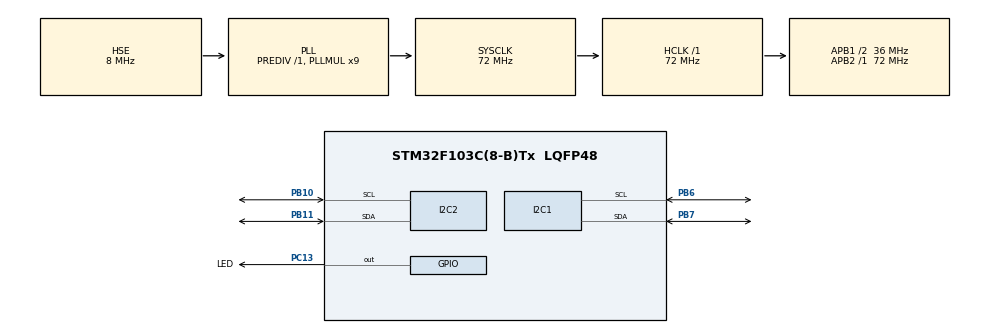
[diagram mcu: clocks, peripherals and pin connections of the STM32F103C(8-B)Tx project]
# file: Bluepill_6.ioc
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Mcu.Family=STM32F1
Mcu.Name=STM32F103C(8-B)Tx
Mcu.Package=LQFP48
NVIC.PriorityGroup=NVIC_PRIORITYGROUP_4
PA13.Mode=Serial_Wire
PA13.Signal=SYS_JTMS-SWDIO
PA14.Mode=Serial_Wire
PA14.Signal=SYS_JTCK-SWCLK
PB10.Mode=I2C
PB10.Signal=I2C2_SCL
PB11.Mode=I2C
PB11.Signal=I2C2_SDA
PB6.Mode=I2C
PB6.Signal=I2C1_SCL
PB7.Mode=I2C
PB7.Signal=I2C1_SDA
PC13-TAMPER-RTC.GPIO_Label=LED
PC13-TAMPER-RTC.GPIO_ModeDefaultOutputPP=GPIO_MODE_OUTPUT_OD
PC13-TAMPER-RTC.GPIO_PuPd=GPIO_PULLUP
PC13-TAMPER-RTC.Signal=GPIO_Output
PD0-OSC_IN.Mode=HSE-External-Oscillator
PD0-OSC_IN.Signal=RCC_OSC_IN
PD1-OSC_OUT.Mode=HSE-External-Oscillator
PD1-OSC_OUT.Signal=RCC_OSC_OUT
ProjectManager.HeapSize=0x200
ProjectManager.StackSize=0x400
ProjectManager.TargetToolchain=STM32CubeIDE
RCC.AHBFreq_Value=72000000
RCC.APB1CLKDivider=RCC_HCLK_DIV2
RCC.APB1Freq_Value=36000000
RCC.APB1TimFreq_Value=72000000
RCC.APB2Freq_Value=72000000
RCC.APB2TimFreq_Value=72000000
RCC.HCLKFreq_Value=72000000
RCC.PLLMUL=RCC_PLL_MUL9
RCC.PLLSourceVirtual=RCC_PLLSOURCE_HSE
RCC.SYSCLKFreq_VALUE=72000000
RCC.SYSCLKSource=RCC_SYSCLKSOURCE_PLLCLK
RCC.USBFreq_Value=72000000
board=custom

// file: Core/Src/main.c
/* USER CODE BEGIN Header */
/**
  ******************************************************************************
  * @file           : main.c
  * @brief          : Main program body
  ******************************************************************************
  * @attention
  *
  * Copyright (c) 2025 STMicroelectronics.
  * All rights reserved.
  *
  * This software is licensed under terms that can be found in the LICENSE file
  * in the root directory of this software component.
  * If no LICENSE file comes with this software, it is provided AS-IS.
  *
  ******************************************************************************
  */
/* USER CODE END Header */
#include "main.h"

/* USER CODE BEGIN PD */
#define I2C_SENSOR_ADDR 0x68
#define SENSOR_REGISTER_ADDR 0x75
/* USER CODE END PD */

I2C_HandleTypeDef hi2c1;
I2C_HandleTypeDef hi2c2;

/* USER CODE BEGIN PV */
uint8_t register_val=0;
uint8_t register_addr=SENSOR_REGISTER_ADDR;
/* USER CODE END PV */

void SystemClock_Config(void);
static void MX_GPIO_Init(void);
static void MX_I2C1_Init(void);
static void MX_I2C2_Init(void);

/* USER CODE BEGIN 0 */
void get_sensor_reading(){
	if(HAL_I2C_Master_Transmit(&hi2c1, I2C_SENSOR_ADDR<<1, &register_addr, 1, HAL_MAX_DELAY)!=HAL_OK){
		Error_Handler();
	}

	if(HAL_I2C_Master_Receive(&hi2c1, I2C_SENSOR_ADDR<<1, &register_val, 1, HAL_MAX_DELAY)!=HAL_OK){
		Error_Handler();
	}
}

/* USER CODE END 0 */

int main(void)
{

  /* MCU Configuration--------------------------------------------------------*/

  /* Reset of all peripherals, Initializes the Flash interface and the Systick. */
  HAL_Init();

  /* Configure the system clock */
  SystemClock_Config();

  /* Initialize all configured peripherals */
  MX_GPIO_Init();
  MX_I2C1_Init();
  MX_I2C2_Init();
  /* USER CODE BEGIN 2 */
  uint32_t led_on_time=0, now=0;

  if(HAL_I2C_IsDeviceReady(&hi2c1, (uint16_t)(I2C_SENSOR_ADDR<<1), 3, 5)==HAL_OK){
	  HAL_GPIO_WritePin(LED_GPIO_Port, LED_Pin, GPIO_PIN_RESET);
	  led_on_time=HAL_GetTick();

	  get_sensor_reading();
  }
  else{
	  //pass;
  }

  /* USER CODE END 2 */

  /* Infinite loop */
  /* USER CODE BEGIN WHILE */

  while (1)
  {
	  now=HAL_GetTick();

	  if(now-led_on_time>=2000){
		  HAL_GPIO_WritePin(LED_GPIO_Port, LED_Pin, GPIO_PIN_SET);
	  }
    /* USER CODE END WHILE */

  }
}

void SystemClock_Config(void)
{
  RCC_OscInitTypeDef RCC_OscInitStruct = {0};
  RCC_ClkInitTypeDef RCC_ClkInitStruct = {0};

  /** Initializes the RCC Oscillators according to the specified parameters
  * in the RCC_OscInitTypeDef structure.
  */
  RCC_OscInitStruct.OscillatorType = RCC_OSCILLATORTYPE_HSE;
  RCC_OscInitStruct.HSEState = RCC_HSE_ON;
  RCC_OscInitStruct.HSEPredivValue = RCC_HSE_PREDIV_DIV1;
  RCC_OscInitStruct.HSIState = RCC_HSI_ON;
  RCC_OscInitStruct.PLL.PLLState = RCC_PLL_ON;
  RCC_OscInitStruct.PLL.PLLSource = RCC_PLLSOURCE_HSE;
  RCC_OscInitStruct.PLL.PLLMUL = RCC_PLL_MUL9;
  if (HAL_RCC_OscConfig(&RCC_OscInitStruct) != HAL_OK)
  {
    Error_Handler();
  }

  /** Initializes the CPU, AHB and APB buses clocks
  */
  RCC_ClkInitStruct.ClockType = RCC_CLOCKTYPE_HCLK|RCC_CLOCKTYPE_SYSCLK
                              |RCC_CLOCKTYPE_PCLK1|RCC_CLOCKTYPE_PCLK2;
  RCC_ClkInitStruct.SYSCLKSource = RCC_SYSCLKSOURCE_PLLCLK;
  RCC_ClkInitStruct.AHBCLKDivider = RCC_SYSCLK_DIV1;
  RCC_ClkInitStruct.APB1CLKDivider = RCC_HCLK_DIV2;
  RCC_ClkInitStruct.APB2CLKDivider = RCC_HCLK_DIV1;

  if (HAL_RCC_ClockConfig(&RCC_ClkInitStruct, FLASH_LATENCY_2) != HAL_OK)
  {
    Error_Handler();
  }
}

static void MX_I2C1_Init(void)
{

  hi2c1.Instance = I2C1;
  hi2c1.Init.ClockSpeed = 100000;
  hi2c1.Init.DutyCycle = I2C_DUTYCYCLE_2;
  hi2c1.Init.OwnAddress1 = 0;
  hi2c1.Init.AddressingMode = I2C_ADDRESSINGMODE_7BIT;
  hi2c1.Init.DualAddressMode = I2C_DUALADDRESS_DISABLE;
  hi2c1.Init.OwnAddress2 = 0;
  hi2c1.Init.GeneralCallMode = I2C_GENERALCALL_DISABLE;
  hi2c1.Init.NoStretchMode = I2C_NOSTRETCH_DISABLE;
  if (HAL_I2C_Init(&hi2c1) != HAL_OK)
  {
    Error_Handler();
  }

}

static void MX_I2C2_Init(void)
{

  hi2c2.Instance = I2C2;
  hi2c2.Init.ClockSpeed = 100000;
  hi2c2.Init.DutyCycle = I2C_DUTYCYCLE_2;
  hi2c2.Init.OwnAddress1 = 0;
  hi2c2.Init.AddressingMode = I2C_ADDRESSINGMODE_7BIT;
  hi2c2.Init.DualAddressMode = I2C_DUALADDRESS_DISABLE;
  hi2c2.Init.OwnAddress2 = 0;
  hi2c2.Init.GeneralCallMode = I2C_GENERALCALL_DISABLE;
  hi2c2.Init.NoStretchMode = I2C_NOSTRETCH_DISABLE;
  if (HAL_I2C_Init(&hi2c2) != HAL_OK)
  {
    Error_Handler();
  }

}

static void MX_GPIO_Init(void)
{
  GPIO_InitTypeDef GPIO_InitStruct = {0};

  /* GPIO Ports Clock Enable */
  __HAL_RCC_GPIOC_CLK_ENABLE();
  __HAL_RCC_GPIOD_CLK_ENABLE();
  __HAL_RCC_GPIOB_CLK_ENABLE();
  __HAL_RCC_GPIOA_CLK_ENABLE();

  /*Configure GPIO pin Output Level */
  HAL_GPIO_WritePin(LED_GPIO_Port, LED_Pin, GPIO_PIN_RESET);

  /*Configure GPIO pin : LED_Pin */
  GPIO_InitStruct.Pin = LED_Pin;
  GPIO_InitStruct.Mode = GPIO_MODE_OUTPUT_OD;
  GPIO_InitStruct.Pull = GPIO_PULLUP;
  GPIO_InitStruct.Speed = GPIO_SPEED_FREQ_LOW;
  HAL_GPIO_Init(LED_GPIO_Port, &GPIO_InitStruct);

}

void Error_Handler(void)
{
  __disable_irq();
  while (1)
  {
  }
}
